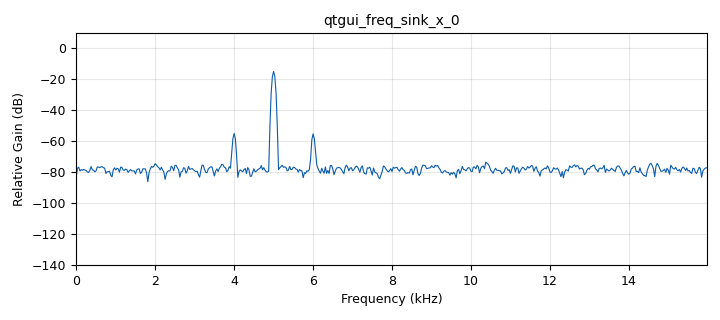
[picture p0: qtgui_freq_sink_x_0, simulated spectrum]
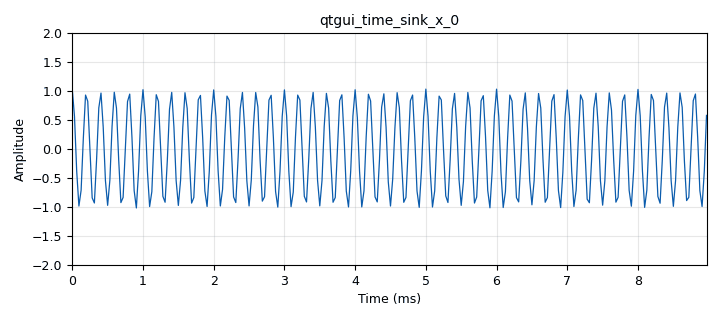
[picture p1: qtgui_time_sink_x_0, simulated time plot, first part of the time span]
options:
  parameters:
    author: pierreay
    generate_options: qt_gui
    id: fase
    output_language: python
    title: FASE
  states: {}

blocks:
- name: alternation_amplitude
  id: variable_qtgui_range
  parameters:
    label: Alternation Amplitude
    start: '0'
    step: '0.001'
    stop: '1'
    value: '0.01'
  states: {}
- name: alternation_freq
  id: variable
  parameters:
    value: '1000'
  states: {}
- name: carrier_freq
  id: variable
  parameters:
    value: '5000'
  states: {}
- name: samp_rate
  id: variable
  parameters:
    value: '32000'
  states: {}
- name: analog_noise_source_x_0
  id: analog_noise_source_x
  parameters:
    amp: '0.01'
    noise_type: analog.GR_GAUSSIAN
    seed: '0'
    type: float
  states: {}
- name: analog_sig_source_x_0
  id: analog_sig_source_x
  parameters:
    amp: alternation_amplitude
    freq: carrier_freq+alternation_freq
    offset: '0'
    phase: '0'
    samp_rate: samp_rate
    type: float
    waveform: analog.GR_COS_WAVE
  states: {}
- name: analog_sig_source_x_0_0
  id: analog_sig_source_x
  parameters:
    amp: alternation_amplitude
    freq: carrier_freq-alternation_freq
    offset: '0'
    phase: '0'
    samp_rate: samp_rate
    type: float
    waveform: analog.GR_COS_WAVE
  states: {}
- name: analog_sig_source_x_1
  id: analog_sig_source_x
  parameters:
    amp: '1'
    freq: carrier_freq
    offset: '0'
    phase: '0'
    samp_rate: samp_rate
    type: float
    waveform: analog.GR_COS_WAVE
  states: {}
- name: blocks_add_xx_0
  id: blocks_add_xx
  parameters:
    num_inputs: '4'
    type: float
  states: {}
- name: blocks_null_sink_0
  id: blocks_null_sink
  parameters:
    type: complex
  states: {}
- name: blocks_null_source_0
  id: blocks_null_source
  parameters:
    type: complex
  states: {}
- name: blocks_throttle_0
  id: blocks_throttle
  parameters:
    samples_per_second: samp_rate
    type: complex
  states: {}
- name: qtgui_freq_sink_x_0
  id: qtgui_freq_sink_x
  parameters:
    average: '0.2'
    bw: samp_rate
    fc: '0'
    fftsize: '1024'
    freqhalf: 'False'
    type: float
  states: {}
- name: qtgui_time_sink_x_0
  id: qtgui_time_sink_x
  parameters:
    size: '1024'
    srate: samp_rate
    type: float
    ymax: '2'
    ymin: '-2'
  states: {}

connections:
- [analog_noise_source_x_0, '0', blocks_add_xx_0, '3']
- [analog_sig_source_x_0, '0', blocks_add_xx_0, '1']
- [analog_sig_source_x_0_0, '0', blocks_add_xx_0, '2']
- [analog_sig_source_x_1, '0', blocks_add_xx_0, '0']
- [blocks_add_xx_0, '0', qtgui_freq_sink_x_0, '0']
- [blocks_add_xx_0, '0', qtgui_time_sink_x_0, '0']
- [blocks_null_source_0, '0', blocks_throttle_0, '0']
- [blocks_throttle_0, '0', blocks_null_sink_0, '0']

metadata:
  file_format: 1
